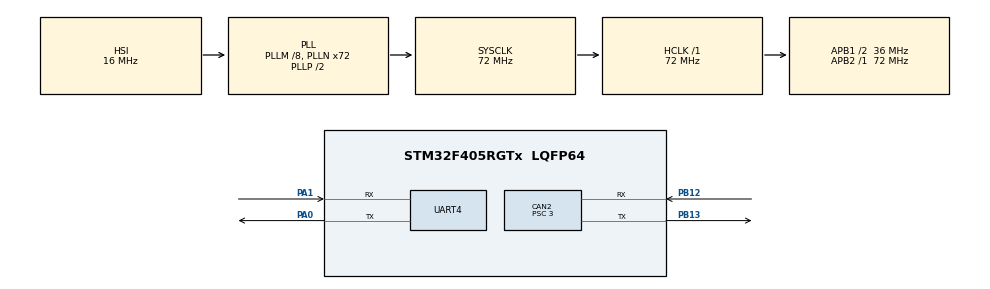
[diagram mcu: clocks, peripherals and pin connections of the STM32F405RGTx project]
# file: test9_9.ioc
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CAN2.ABOM=ENABLE
CAN2.BS1=CAN_BS1_9TQ
CAN2.BS2=CAN_BS2_2TQ
CAN2.CalculateBaudRate=999999
CAN2.CalculateTimeBit=1000
CAN2.CalculateTimeQuantum=83.33333333333334
CAN2.NART=ENABLE
CAN2.Prescaler=3
FREERTOS.Queues01=cmdQue,16,uint8_t,0,Dynamic,NULL,NULL
FREERTOS.Tasks01=MotorCrlTask,24,128,StartDefaultTask,Default,NULL,Dynamic,NULL,NULL;UartCmdTask,8,128,StartTask02,Default,NULL,Dynamic,NULL,NULL;elemetryTask,8,128,StartTask03,Default,NULL,Dynamic,NULL,NULL
Mcu.Family=STM32F4
Mcu.Name=STM32F405RGTx
Mcu.Package=LQFP64
NVIC.CAN2_RX0_IRQn=true\:5\:0\:false\:false\:true\:true\:true\:true\:true
NVIC.PriorityGroup=NVIC_PRIORITYGROUP_4
NVIC.UART4_IRQn=true\:5\:0\:false\:false\:true\:true\:true\:true\:true
PA0-WKUP.Mode=Asynchronous
PA0-WKUP.Signal=UART4_TX
PA1.Mode=Asynchronous
PA1.Signal=UART4_RX
PA13.Mode=Serial_Wire
PA13.Signal=SYS_JTMS-SWDIO
PA14.Mode=Serial_Wire
PA14.Signal=SYS_JTCK-SWCLK
PB12.Mode=CAN_Activate
PB12.Signal=CAN2_RX
PB13.Mode=CAN_Activate
PB13.Signal=CAN2_TX
PC14-OSC32_IN.Mode=LSE-External-Oscillator
PC14-OSC32_IN.Signal=RCC_OSC32_IN
PC15-OSC32_OUT.Mode=LSE-External-Oscillator
PC15-OSC32_OUT.Signal=RCC_OSC32_OUT
PH0-OSC_IN.Mode=HSE-External-Oscillator
PH0-OSC_IN.Signal=RCC_OSC_IN
PH1-OSC_OUT.Mode=HSE-External-Oscillator
PH1-OSC_OUT.Signal=RCC_OSC_OUT
ProjectManager.HeapSize=0x200
ProjectManager.StackSize=0x400
ProjectManager.TargetToolchain=CMake
RCC.48MHZClocksFreq_Value=36000000
RCC.AHBFreq_Value=72000000
RCC.APB1CLKDivider=RCC_HCLK_DIV2
RCC.APB1Freq_Value=36000000
RCC.APB1TimFreq_Value=72000000
RCC.APB2Freq_Value=72000000
RCC.APB2TimFreq_Value=72000000
RCC.CortexFreq_Value=72000000
RCC.HCLKFreq_Value=72000000
RCC.HSE_VALUE=25000000
RCC.HSI_VALUE=16000000
RCC.PLLM=8
RCC.PLLN=72
RCC.SYSCLKFreq_VALUE=72000000
RCC.SYSCLKSource=RCC_SYSCLKSOURCE_PLLCLK
RCC.VCOOutputFreq_Value=144000000
UART4.VirtualMode=Asynchronous
VP_FREERTOS_VS_CMSIS_V2.Mode=CMSIS_V2
board=custom

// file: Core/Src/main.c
/* USER CODE BEGIN Header */
/**
  ******************************************************************************
  * @file           : main.c
  * @brief          : Main program body
  ******************************************************************************
  * @attention
  *
  * Copyright (c) 2026 STMicroelectronics.
  * All rights reserved.
  *
  * This software is licensed under terms that can be found in the LICENSE file
  * in the root directory of this software component.
  * If no LICENSE file comes with this software, it is provided AS-IS.
  *
  ******************************************************************************
  */
/* USER CODE END Header */
#include "main.h"
#include "cmsis_os.h"

/* USER CODE BEGIN Includes */
#include "can.h"
#include "motor_ctl.h"
#include "app_tasks.h"
#include "uart_service.h"
/* USER CODE END Includes */

/* USER CODE BEGIN PD */

CAN_HandleTypeDef hcan2;

UART_HandleTypeDef huart4;

/* Definitions for MotorCrlTask */
osThreadId_t MotorCrlTaskHandle;
const osThreadAttr_t MotorCrlTask_attributes = {
  .name = "MotorCrlTask",
  .stack_size = 192 * 4,
  .priority = (osPriority_t) osPriorityNormal,
};
/* Definitions for UartCmdTask */
osThreadId_t UartCmdTaskHandle;
const osThreadAttr_t UartCmdTask_attributes = {
  .name = "UartCmdTask",
  .stack_size = 192 * 4,
  .priority = (osPriority_t) osPriorityLow,
};
/* Definitions for elemetryTask */
osThreadId_t elemetryTaskHandle;
const osThreadAttr_t elemetryTask_attributes = {
  .name = "elemetryTask",
  .stack_size = 384 * 4,
  .priority = (osPriority_t) osPriorityLow,
};
/* Definitions for cmdQue */
osMessageQueueId_t cmdQueHandle;
const osMessageQueueAttr_t cmdQue_attributes = {
  .name = "cmdQue"
};

void SystemClock_Config(void);
static void MX_GPIO_Init(void);
static void MX_CAN2_Init(void);
static void MX_UART4_Init(void);
void StartDefaultTask(void *argument);
void StartTask02(void *argument);
void StartTask03(void *argument);

int main(void)
{

  /* MCU Configuration--------------------------------------------------------*/

  /* Reset of all peripherals, Initializes the Flash interface and the Systick. */
  HAL_Init();

  /* Configure the system clock */
  SystemClock_Config();

  /* Initialize all configured peripherals */
  MX_GPIO_Init();
  MX_CAN2_Init();
  MX_UART4_Init();
  /* USER CODE BEGIN 2 */
  CAN_Filter_init();

  /* USER CODE END 2 */

  /* Init scheduler */
  osKernelInitialize();

  /* USER CODE BEGIN RTOS_MUTEX */
  if (!MotorControl_Init())
    Error_Handler();
  /* USER CODE END RTOS_MUTEX */

  /* Create the queue(s) */
  /* creation of cmdQue */
  cmdQueHandle = osMessageQueueNew(16, sizeof(uint8_t), &cmdQue_attributes);

  /* USER CODE BEGIN RTOS_QUEUES */
  if ((cmdQueHandle == NULL) || !UartService_Init(cmdQueHandle))
    Error_Handler();
  CAN_Start();
  /* USER CODE END RTOS_QUEUES */

  /* Create the thread(s) */
  /* creation of MotorCrlTask */
  MotorCrlTaskHandle = osThreadNew(StartDefaultTask, NULL, &MotorCrlTask_attributes);

  /* creation of UartCmdTask */
  UartCmdTaskHandle = osThreadNew(StartTask02, NULL, &UartCmdTask_attributes);

  /* creation of elemetryTask */
  elemetryTaskHandle = osThreadNew(StartTask03, NULL, &elemetryTask_attributes);

  /* USER CODE BEGIN RTOS_THREADS */
  if ((MotorCrlTaskHandle == NULL) ||
      (UartCmdTaskHandle == NULL) ||
      (elemetryTaskHandle == NULL))
    Error_Handler();
  /* USER CODE END RTOS_THREADS */

  /* Start scheduler */
  osKernelStart();

  /* We should never get here as control is now taken by the scheduler */

  /* Infinite loop */
  while (1)
  {

  }
}

void SystemClock_Config(void)
{
  RCC_OscInitTypeDef RCC_OscInitStruct = {0};
  RCC_ClkInitTypeDef RCC_ClkInitStruct = {0};

  /** Configure the main internal regulator output voltage
  */
  __HAL_RCC_PWR_CLK_ENABLE();
  __HAL_PWR_VOLTAGESCALING_CONFIG(PWR_REGULATOR_VOLTAGE_SCALE1);

  /** Initializes the RCC Oscillators according to the specified parameters
  * in the RCC_OscInitTypeDef structure.
  */
  RCC_OscInitStruct.OscillatorType = RCC_OSCILLATORTYPE_HSI;
  RCC_OscInitStruct.HSIState = RCC_HSI_ON;
  RCC_OscInitStruct.HSICalibrationValue = RCC_HSICALIBRATION_DEFAULT;
  RCC_OscInitStruct.PLL.PLLState = RCC_PLL_ON;
  RCC_OscInitStruct.PLL.PLLSource = RCC_PLLSOURCE_HSI;
  RCC_OscInitStruct.PLL.PLLM = 8;
  RCC_OscInitStruct.PLL.PLLN = 72;
  RCC_OscInitStruct.PLL.PLLP = RCC_PLLP_DIV2;
  RCC_OscInitStruct.PLL.PLLQ = 4;
  if (HAL_RCC_OscConfig(&RCC_OscInitStruct) != HAL_OK)
  {
    Error_Handler();
  }

  /** Initializes the CPU, AHB and APB buses clocks
  */
  RCC_ClkInitStruct.ClockType = RCC_CLOCKTYPE_HCLK|RCC_CLOCKTYPE_SYSCLK
                              |RCC_CLOCKTYPE_PCLK1|RCC_CLOCKTYPE_PCLK2;
  RCC_ClkInitStruct.SYSCLKSource = RCC_SYSCLKSOURCE_PLLCLK;
  RCC_ClkInitStruct.AHBCLKDivider = RCC_SYSCLK_DIV1;
  RCC_ClkInitStruct.APB1CLKDivider = RCC_HCLK_DIV2;
  RCC_ClkInitStruct.APB2CLKDivider = RCC_HCLK_DIV1;

  if (HAL_RCC_ClockConfig(&RCC_ClkInitStruct, FLASH_LATENCY_2) != HAL_OK)
  {
    Error_Handler();
  }
}

static void MX_CAN2_Init(void)
{

  hcan2.Instance = CAN2;
  hcan2.Init.Prescaler = 3;
  hcan2.Init.Mode = CAN_MODE_NORMAL;
  hcan2.Init.SyncJumpWidth = CAN_SJW_1TQ;
  hcan2.Init.TimeSeg1 = CAN_BS1_9TQ;
  hcan2.Init.TimeSeg2 = CAN_BS2_2TQ;
  hcan2.Init.TimeTriggeredMode = DISABLE;
  hcan2.Init.AutoBusOff = ENABLE;
  hcan2.Init.AutoWakeUp = DISABLE;
  hcan2.Init.AutoRetransmission = ENABLE;
  hcan2.Init.ReceiveFifoLocked = DISABLE;
  hcan2.Init.TransmitFifoPriority = DISABLE;
  if (HAL_CAN_Init(&hcan2) != HAL_OK)
  {
    Error_Handler();
  }

}

static void MX_UART4_Init(void)
{

  huart4.Instance = UART4;
  huart4.Init.BaudRate = 115200;
  huart4.Init.WordLength = UART_WORDLENGTH_8B;
  huart4.Init.StopBits = UART_STOPBITS_1;
  huart4.Init.Parity = UART_PARITY_NONE;
  huart4.Init.Mode = UART_MODE_TX_RX;
  huart4.Init.HwFlowCtl = UART_HWCONTROL_NONE;
  huart4.Init.OverSampling = UART_OVERSAMPLING_16;
  if (HAL_UART_Init(&huart4) != HAL_OK)
  {
    Error_Handler();
  }

}

static void MX_GPIO_Init(void)
{

  /* GPIO Ports Clock Enable */
  __HAL_RCC_GPIOC_CLK_ENABLE();
  __HAL_RCC_GPIOH_CLK_ENABLE();
  __HAL_RCC_GPIOA_CLK_ENABLE();
  __HAL_RCC_GPIOB_CLK_ENABLE();

}

void StartDefaultTask(void *argument)
{
  (void)argument;
  /* USER CODE BEGIN 5 */
  AppTasks_MotorControl();
  /* USER CODE END 5 */
}

void StartTask02(void *argument)
{
  (void)argument;
  /* USER CODE BEGIN StartTask02 */
  AppTasks_UartCommand();
  /* USER CODE END StartTask02 */
}

void StartTask03(void *argument)
{
  (void)argument;
  /* USER CODE BEGIN StartTask03 */
  AppTasks_Telemetry();
  /* USER CODE END StartTask03 */
}

void Error_Handler(void)
{
  __disable_irq();
  while (1)
  {
  }
}
